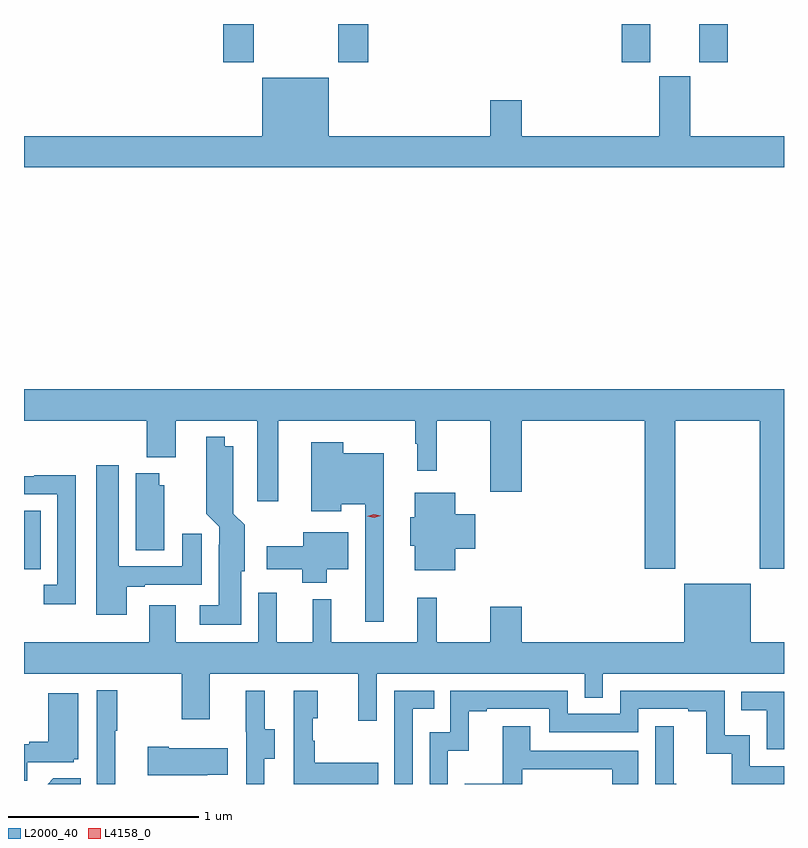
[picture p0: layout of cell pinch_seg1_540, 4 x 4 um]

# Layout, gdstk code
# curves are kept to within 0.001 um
import gdstk
lib = gdstk.Library(unit=1e-6, precision=1e-09)
def R(c, l, rs):  # rectangles x0, y0, x1, y1
    for r in rs: c.add(gdstk.rectangle(r[:2], r[2:], *l))
def P(c, l, *ps):  # polygons
    for p in ps: c.add(gdstk.Polygon(p, *l))
L2000_40 = (2000, 40)
L4158_0 = (4158, 0)

pinch_seg1_540 = lib.new_cell('pinch_seg1_540')
R(pinch_seg1_540, L2000_40, [(1037.677,524.31,1037.764,524.617), (1038.725,526.977,1038.885,527.179), (1039.33,526.977,1039.49,527.179), (1040.822,526.977,1040.974,527.179), (1041.23,526.977,1041.382,527.179)])
P(pinch_seg1_540, L2000_40, [(1041.677,526.588),(1041.184,526.588),(1041.184,526.905),(1041.02,526.905),(1041.02,526.588),(1040.296,526.588),(1040.296,526.777),(1040.132,526.777),(1040.132,526.588),(1039.282,526.588),(1039.282,526.897),(1038.932,526.897),(1038.932,526.588),(1037.677,526.588),(1037.677,526.424),(1041.677,526.424)],
  [(1041.105,525.092),(1041.55,525.092),(1041.55,524.313),(1041.677,524.313),(1041.677,525.256),(1037.677,525.256),(1037.677,525.092),(1038.323,525.092),(1038.323,524.9),(1038.475,524.9),(1038.475,525.092),(1038.905,525.092),(1038.905,524.667),(1039.015,524.667),(1039.015,525.092),(1039.737,525.092),(1039.737,524.969),(1039.748,524.969),(1039.748,524.829),(1039.85,524.829),(1039.85,525.092),(1040.132,525.092),(1040.132,524.718),(1040.296,524.718),(1040.296,525.092),(1040.945,525.092),(1040.945,524.313),(1041.105,524.313)],
  [(1038.82,524.298),(1038.838,524.298),(1038.838,524.543),(1038.779,524.602),(1038.778,524.956),(1038.733,524.956),(1038.733,525.007),(1038.636,525.007),(1038.635,524.602),(1038.705,524.532),(1038.705,524.438),(1038.701,524.438),(1038.701,524.119),(1038.603,524.119),(1038.603,524.018),(1038.82,524.018)],
  [(1039.57,524.92),(1039.356,524.92),(1039.356,524.977),(1039.19,524.977),(1039.19,524.615),(1039.348,524.615),(1039.348,524.651),(1039.473,524.651),(1039.473,524.034),(1039.57,524.034)],
  [(1038.217,524.217),(1038.313,524.217),(1038.313,524.229),(1038.613,524.229),(1038.613,524.497),(1038.509,524.497),(1038.509,524.325),(1038.175,524.325),(1038.175,524.857),(1038.056,524.857),(1038.056,524.07),(1038.217,524.07)],
  [(1038.415,524.751),(1038.388,524.751),(1038.388,524.815),(1038.266,524.815),(1038.266,524.41),(1038.415,524.41)],
  [(1037.949,524.804),(1037.731,524.804),(1037.731,524.799),(1037.677,524.799),(1037.677,524.703),(1037.853,524.703),(1037.853,524.229),(1037.781,524.229),(1037.781,524.124),(1037.949,524.124)],
  [(1039.948,524.417),(1040.053,524.417),(1040.053,524.6),(1039.948,524.6),(1039.948,524.713),(1039.733,524.713),(1039.733,524.583),(1039.709,524.583),(1039.709,524.433),(1039.733,524.433),(1039.733,524.303),(1039.948,524.303)],
  [(1039.27,524.309),(1039.384,524.309),(1039.384,524.503),(1039.148,524.503),(1039.148,524.431),(1038.954,524.431),(1038.954,524.309),(1039.141,524.309),(1039.141,524.237),(1039.27,524.237)],
  [(1039.533,523.76),(1040.628,523.76),(1040.628,523.633),(1040.724,523.633),(1040.724,523.76),(1041.677,523.76),(1041.677,523.924),(1041.502,523.924),(1041.502,524.233),(1041.152,524.233),(1041.152,523.924),(1040.296,523.924),(1040.296,524.113),(1040.132,524.113),(1040.132,523.924),(1039.85,523.924),(1039.85,524.158),(1039.748,524.158),(1039.748,523.924),(1039.295,523.924),(1039.295,524.152),(1039.196,524.152),(1039.196,523.924),(1039.007,523.924),(1039.007,524.185),(1038.909,524.185),(1038.909,523.924),(1038.475,523.924),(1038.475,524.119),(1038.335,524.119),(1038.335,523.924),(1037.677,523.924),(1037.677,523.76),(1038.507,523.76),(1038.507,523.52),(1038.655,523.52),(1038.655,523.76),(1039.436,523.76),(1039.436,523.512),(1039.533,523.512)],
  [(1038.157,523.459),(1038.169,523.459),(1038.169,523.672),(1038.06,523.672),(1038.06,523.179),(1038.157,523.179)],
  [(1039.908,523.355),(1040.018,523.355),(1040.018,523.563),(1040.113,523.563),(1040.113,523.575),(1040.442,523.575),(1040.442,523.452),(1040.91,523.452),(1040.91,523.575),(1041.173,523.575),(1041.173,523.563),(1041.269,523.563),(1041.269,523.337),(1041.402,523.337),(1041.402,523.179),(1041.677,523.179),(1041.677,523.272),(1041.498,523.272),(1041.498,523.435),(1041.366,523.435),(1041.366,523.671),(1040.814,523.671),(1040.814,523.548),(1040.538,523.548),(1040.538,523.671),(1039.92,523.671),(1039.92,523.452),(1039.812,523.452),(1039.812,523.179),(1039.908,523.179)],
  [(1039.722,523.575),(1039.835,523.575),(1039.835,523.671),(1039.626,523.671),(1039.626,523.179),(1039.722,523.179)],
  [(1039.541,523.291),(1039.207,523.291),(1039.207,523.406),(1039.197,523.406),(1039.197,523.524),(1039.222,523.524),(1039.222,523.669),(1039.098,523.669),(1039.098,523.179),(1039.541,523.179)],
  [(1038.942,523.312),(1038.997,523.312),(1038.997,523.467),(1038.943,523.467),(1038.943,523.669),(1038.845,523.669),(1038.845,523.455),(1038.846,523.455),(1038.846,523.179),(1038.942,523.179)],
  [(1041.677,523.665),(1041.451,523.665),(1041.451,523.568),(1041.586,523.568),(1041.586,523.362),(1041.677,523.362)],
  [(1037.693,523.293),(1037.94,523.293),(1037.94,523.308),(1037.962,523.308),(1037.962,523.657),(1037.804,523.657),(1037.804,523.402),(1037.705,523.402),(1037.705,523.389),(1037.677,523.389),(1037.677,523.195),(1037.693,523.195)],
  [(1040.299,523.257),(1040.773,523.257),(1040.773,523.179),(1040.91,523.179),(1040.91,523.353),(1040.341,523.353),(1040.341,523.483),(1040.197,523.483),(1040.197,523.18),(1039.998,523.18),(1039.998,523.179),(1040.299,523.179)],
  [(1041.109,523.18),(1041.097,523.18),(1041.097,523.483),(1041,523.483),(1041,523.179),(1041.109,523.179)],
  [(1038.641,523.229),(1038.749,523.229),(1038.749,523.366),(1038.439,523.366),(1038.439,523.374),(1038.327,523.374),(1038.327,523.226),(1038.641,523.226)],
  [(1037.975,523.208),(1037.831,523.208),(1037.802,523.179),(1037.975,523.179)])
P(pinch_seg1_540, L4158_0, [(1039.52,524.58),(1039.484,524.587),(1039.484,524.587),(1039.484,524.587),(1039.519,524.6),(1039.555,524.592),(1039.555,524.592),(1039.555,524.592)])

lib.write_gds('pinch_seg1_540.gds')
